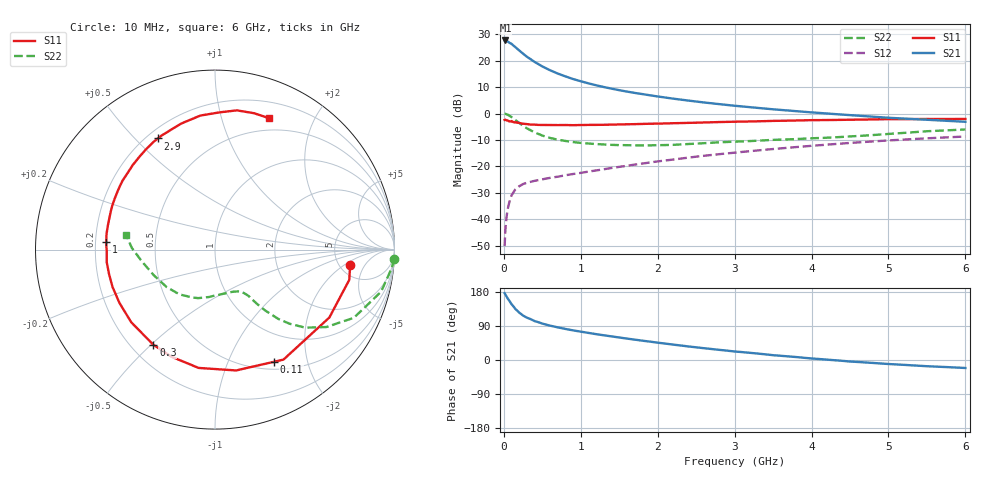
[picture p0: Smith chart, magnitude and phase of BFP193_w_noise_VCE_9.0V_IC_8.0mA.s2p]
! Infineon Technologies  Discrete & RF Semiconductors
! BFP193
! VCE =  9.0 V,  IC =  8.0 mA
! Common Emitter S-Parameters:  Jan 2017
# GHz  S  MA  R  50
!  f  S11  S21  S12  S22
! GHz  MAG  ANG  MAG  ANG  MAG  ANG  MAG  ANG
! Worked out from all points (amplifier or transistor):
!   77 points, 10 MHz to 6 GHz, reference 50 ohm
!   highest |S21| = 27.7 dB at 20 MHz (marker M1)
!   |S21| within 3 dB of that: start of sweep to 168.9 MHz
!   unconditionally stable (mu >= 1): 1.229 GHz to 2.572 GHz
!   at 130 MHz: K = 0.19, MSG = 27.6 dB, |S12| = -29.6 dB
!   at 2.2 GHz: K = 1.04, MAG = 10.3 dB, |S12| = -17.4 dB
!   at 6 GHz: K = 0.85, MSG = 2.8 dB, |S12| = -8.7 dB
!   lowest NFmin = 0.85 dB at 450 MHz
!   S11 on the Smith chart (normalised r, x): 10 MHz: 6.25, -2.48; 110 MHz: 0.60, -1.48; 300 MHz: 0.29, -0.51; 1 GHz: 0.24, +0.03; 2.9 GHz: 0.24, +0.58; 6 GHz: 0.36, +1.43
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0.01  0.7578 -6.4  24.11 176.3  0.0031 90.2  0.9999 -2.9
0.02  0.7669 -12.7  24.19 172.9  0.0063 87.8  0.9898 -6.0
0.05  0.741 -30.7  23.16 162.3  0.0155 73.2  0.9547 -14.2
0.1  0.7219 -58.1  20.88 147.2  0.0283 65.2  0.8624 -26.1
0.11  0.7061 -62.3  20.25 145.0  0.0299 62.8  0.8397 -27.7
0.15  0.6835 -80.1  18.08 134.6  0.0368 55.6  0.756 -34.8
0.2  0.6655 -97.9  15.65 125.2  0.0422 49.8  0.6642 -40.9
0.25  0.6443 -112.1  13.59 117.3  0.0464 45.8  0.5863 -44.8
0.3  0.6317 -122.9  11.89 111.7  0.0491 42.6  0.5252 -47.5
0.4  0.6179 -139.1  9.482 102.7  0.0534 40.6  0.4395 -50.5
0.5  0.6096 -151.0  7.795 96.1  0.057 40.4  0.3841 -52.2
0.6  0.6077 -160.0  6.619 90.7  0.0608 40.8  0.3463 -53.3
0.7  0.6059 -167.2  5.724 86.2  0.0639 41.6  0.3209 -54.0
1  0.6073 176.1  4.089 74.8  0.0755 45.3  0.2785 -58.0
1.1  0.6106 171.7  3.733 71.5  0.0799 46.5  0.2713 -59.5
1.5  0.6231 156.5  2.773 59.4  0.0981 49.0  0.2533 -68.8
2.1  0.6505 137.1  2.011 43.3  0.1297 49.9  0.2539 -87.3
2.9  0.6962 117.2  1.457 24.7  0.1764 46.5  0.29 -112.1
3.1  0.7053 112.9  1.364 20.8  0.1884 45.1  0.2979 -117.8
4.1  0.7528 94.6  1.029 2.6  0.2519 36.7  0.3448 -145.5
5.1  0.7853 79.7  0.819 -11.7  0.3163 25.9  0.4213 -173.0
6  0.7914 67.8  0.699 -21.1  0.3686 15.4  0.5012 170.6
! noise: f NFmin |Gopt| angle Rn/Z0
0.45  0.85  0.21  129  0.09
0.9  0.97  0.36  162  0.07
1.9  1.79  0.58  -148  0.12
2.4  2.19  0.64  -129  0.31
